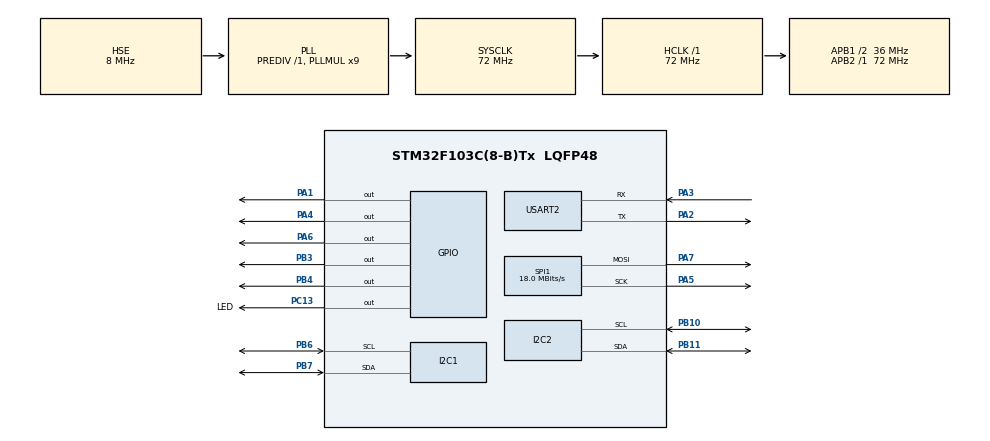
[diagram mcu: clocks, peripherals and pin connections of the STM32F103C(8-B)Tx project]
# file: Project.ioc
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Mcu.Family=STM32F1
Mcu.Name=STM32F103C(8-B)Tx
Mcu.Package=LQFP48
NVIC.PriorityGroup=NVIC_PRIORITYGROUP_4
NVIC.USART2_IRQn=true\:0\:0\:false\:false\:true\:true\:true\:true
PA1.Signal=GPIO_Output
PA13.Mode=Serial_Wire
PA13.Signal=SYS_JTMS-SWDIO
PA14.Mode=Serial_Wire
PA14.Signal=SYS_JTCK-SWCLK
PA2.Mode=Asynchronous
PA2.Signal=USART2_TX
PA3.Mode=Asynchronous
PA3.Signal=USART2_RX
PA4.Signal=GPIO_Output
PA5.Mode=TX_Only_Simplex_Unidirect_Master
PA5.Signal=SPI1_SCK
PA6.Signal=GPIO_Output
PA7.Mode=TX_Only_Simplex_Unidirect_Master
PA7.Signal=SPI1_MOSI
PB10.Mode=I2C
PB10.Signal=I2C2_SCL
PB11.Mode=I2C
PB11.Signal=I2C2_SDA
PB3.Signal=GPIO_Output
PB4.Signal=GPIO_Output
PB6.Mode=I2C
PB6.Signal=I2C1_SCL
PB7.Mode=I2C
PB7.Signal=I2C1_SDA
PC13-TAMPER-RTC.GPIO_Label=LED
PC13-TAMPER-RTC.PinState=GPIO_PIN_SET
PC13-TAMPER-RTC.Signal=GPIO_Output
PD0-OSC_IN.Mode=HSE-External-Oscillator
PD0-OSC_IN.Signal=RCC_OSC_IN
PD1-OSC_OUT.Mode=HSE-External-Oscillator
PD1-OSC_OUT.Signal=RCC_OSC_OUT
ProjectManager.HeapSize=0x200
ProjectManager.StackSize=0x400
ProjectManager.TargetToolchain=MDK-ARM V5.32
RCC.AHBFreq_Value=72000000
RCC.APB1CLKDivider=RCC_HCLK_DIV2
RCC.APB1Freq_Value=36000000
RCC.APB1TimFreq_Value=72000000
RCC.APB2Freq_Value=72000000
RCC.APB2TimFreq_Value=72000000
RCC.HCLKFreq_Value=72000000
RCC.PLLMUL=RCC_PLL_MUL9
RCC.PLLSourceVirtual=RCC_PLLSOURCE_HSE
RCC.SYSCLKFreq_VALUE=72000000
RCC.SYSCLKSource=RCC_SYSCLKSOURCE_PLLCLK
RCC.USBFreq_Value=72000000
SPI1.BaudRatePrescaler=SPI_BAUDRATEPRESCALER_4
SPI1.CalculateBaudRate=18.0 MBits/s
SPI1.Direction=SPI_DIRECTION_2LINES
SPI1.Mode=SPI_MODE_MASTER
SPI1.VirtualType=VM_MASTER
USART2.VirtualMode=VM_ASYNC
board=custom

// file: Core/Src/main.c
/* USER CODE BEGIN Header */
/**
  ******************************************************************************
  * @file           : main.c
  * @brief          : Main program body
  ******************************************************************************
  * @attention
  *
  * Copyright (c) 2022 STMicroelectronics.
  * All rights reserved.
  *
  * This software is licensed under terms that can be found in the LICENSE file
  * in the root directory of this software component.
  * If no LICENSE file comes with this software, it is provided AS-IS.
  *
  ******************************************************************************
  */
/* USER CODE END Header */
#include "main.h"
#include "i2c.h"
#include "spi.h"
#include "usart.h"
#include "gpio.h"

/* USER CODE BEGIN Includes */
#include "oled.h"
#include "sht1x.h"         // controller register definitions
#include "sht3x.h"
/* USER CODE END Includes */

void SystemClock_Config(void);

/* USER CODE BEGIN 0 */
void initView(){

	OLED_ShowChinese(0,0,0,16);OLED_ShowChinese(16*1,0,1,16);OLED_ShowChinese(16*5,0,4,16);
	OLED_ShowChinese(0,16*1,2,16);OLED_ShowChinese(16*1,16*1,3,16);
	OLED_Refresh();
}

/* USER CODE END 0 */

int main(void)
{

  /* MCU Configuration--------------------------------------------------------*/

  /* Reset of all peripherals, Initializes the Flash interface and the Systick. */
  HAL_Init();

  /* Configure the system clock */
  SystemClock_Config();

  /* Initialize all configured peripherals */
  MX_GPIO_Init();
  MX_SPI1_Init();
  MX_USART2_UART_Init();
  MX_I2C2_Init();
  MX_I2C1_Init();
  /* USER CODE BEGIN 2 */
	SHTXX_Init();
	OLED_Init();
	initView();
	float temp,hum;
	unsigned char data[20];
  /* USER CODE END 2 */

  /* Infinite loop */
  while (1)
  {

    /* USER CODE BEGIN 3 */
		call_sht11(&temp,&hum);
		sprintf(data,":%.2f",temp);
		OLED_ShowString(16*2,16*0,data,16);
		sprintf(data,":%.2f%%Rh",hum);
		OLED_ShowString(16*2,16*1,data,16);
		OLED_Refresh();
		HAL_GPIO_TogglePin(LED_GPIO_Port,LED_Pin);
		HAL_Delay(500);

  }
  /* USER CODE END 3 */
}

void SystemClock_Config(void)
{
  RCC_OscInitTypeDef RCC_OscInitStruct = {0};
  RCC_ClkInitTypeDef RCC_ClkInitStruct = {0};

  /** Initializes the RCC Oscillators according to the specified parameters
  * in the RCC_OscInitTypeDef structure.
  */
  RCC_OscInitStruct.OscillatorType = RCC_OSCILLATORTYPE_HSE;
  RCC_OscInitStruct.HSEState = RCC_HSE_ON;
  RCC_OscInitStruct.HSEPredivValue = RCC_HSE_PREDIV_DIV1;
  RCC_OscInitStruct.HSIState = RCC_HSI_ON;
  RCC_OscInitStruct.PLL.PLLState = RCC_PLL_ON;
  RCC_OscInitStruct.PLL.PLLSource = RCC_PLLSOURCE_HSE;
  RCC_OscInitStruct.PLL.PLLMUL = RCC_PLL_MUL9;
  if (HAL_RCC_OscConfig(&RCC_OscInitStruct) != HAL_OK)
  {
    Error_Handler();
  }

  /** Initializes the CPU, AHB and APB buses clocks
  */
  RCC_ClkInitStruct.ClockType = RCC_CLOCKTYPE_HCLK|RCC_CLOCKTYPE_SYSCLK
                              |RCC_CLOCKTYPE_PCLK1|RCC_CLOCKTYPE_PCLK2;
  RCC_ClkInitStruct.SYSCLKSource = RCC_SYSCLKSOURCE_PLLCLK;
  RCC_ClkInitStruct.AHBCLKDivider = RCC_SYSCLK_DIV1;
  RCC_ClkInitStruct.APB1CLKDivider = RCC_HCLK_DIV2;
  RCC_ClkInitStruct.APB2CLKDivider = RCC_HCLK_DIV1;

  if (HAL_RCC_ClockConfig(&RCC_ClkInitStruct, FLASH_LATENCY_2) != HAL_OK)
  {
    Error_Handler();
  }
}

void Error_Handler(void)
{
  __disable_irq();
  while (1)
  {
  }
}
